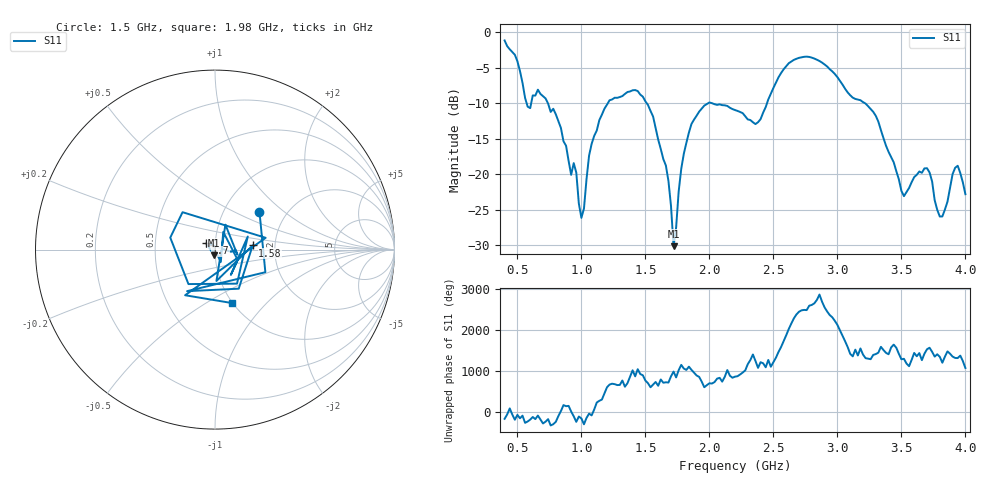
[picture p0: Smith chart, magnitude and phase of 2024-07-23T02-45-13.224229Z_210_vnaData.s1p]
!Created with skrf (http://scikit-rf.org).
# Hz S RI R 50.0
!freq ReS11 ImS11
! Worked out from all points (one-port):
!   181 points, 400 MHz to 4 GHz, reference 50 ohm
!   lowest |S11| = -30.1 dB at 1.72 GHz (marker M1), VSWR 1.06, Z = 49.4 - j3.04 ohm
!   |S11| at or under -10 dB: 738.2 MHz to 1.207 GHz (468.4 MHz wide, 48.2 % of centre); 1.51 GHz to 1.991 GHz (480.5 MHz wide, 27.4 % of centre); 3.215 GHz to end of sweep (the widest 3 of 5)
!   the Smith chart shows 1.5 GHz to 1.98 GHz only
!   S11 on the Smith chart (normalised r, x): 1.5 GHz: 1.46, +0.69; 1.58 GHz: 1.53, +0.07; 1.7 GHz: 0.91, +0.06; 1.98 GHz: 0.99, -0.65
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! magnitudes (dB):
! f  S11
! 400 MHz  -1.2
! 500 MHz  -4.1
! 580 MHz  -10.5
! 660 MHz  -8.1
! 860 MHz  -15.4
! 960 MHz  -19.8
! 1 GHz  -26.1
! 1.08 GHz  -15.7
! 1.3 GHz  -9.1
! 1.5 GHz  -9.7
! 1.58 GHz  -13.5
! 1.7 GHz  -24.5
! 1.72 GHz  -30.1
! 1.76 GHz  -22.4
! 1.86 GHz  -12.9
! 1.98 GHz  -10.1
! 2.2 GHz  -11.0
! 2.38 GHz  -12.7
! 2.66 GHz  -3.9
! 2.88 GHz  -4.3
! 3.1 GHz  -8.9
! 3.3 GHz  -11.8
! 3.5 GHz  -22.3
! 3.56 GHz  -21.9
! 3.7 GHz  -19.2
! 3.82 GHz  -25.9
! 3.94 GHz  -18.8
! 4 GHz  -22.8
